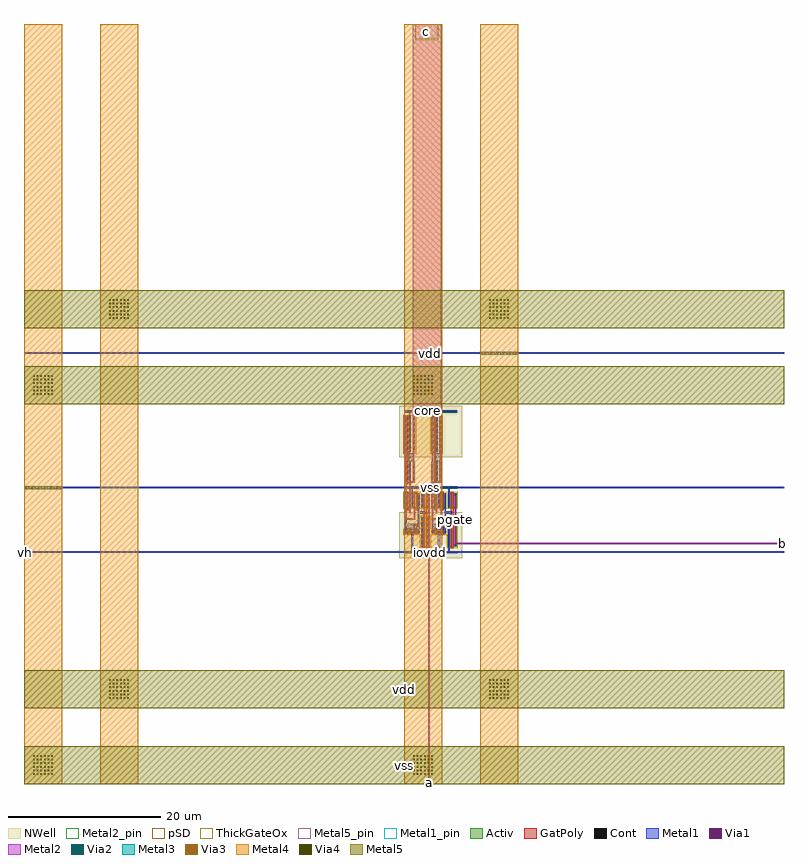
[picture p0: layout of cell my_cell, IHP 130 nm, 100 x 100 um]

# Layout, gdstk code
import gdstk
lib = gdstk.Library(unit=1e-6, precision=1e-09)
def R(c, l, rs):  # rectangles x0, y0, x1, y1
    for r in rs: c.add(gdstk.rectangle(r[:2], r[2:], *l))
def A(c, l, x, y, w, h, nx, ny, dx, dy):  # array of equal rectangles
    R(c, l, [(x+i*dx, y+j*dy, x+i*dx+w, y+j*dy+h) for i in range(nx) for j in range(ny)])
Activ = (1, 0)
GatPoly = (5, 0)
Cont = (6, 0)
Metal1 = (8, 0)
Metal1_pin = (8, 2)
Metal2 = (10, 0)
Metal2_pin = (10, 2)
pSD = (14, 0)
Via1 = (19, 0)
Via2 = (29, 0)
Metal3 = (30, 0)
NWell = (31, 0)
ThickGateOx = (44, 0)
Via3 = (49, 0)
Metal4 = (50, 0)
Via4 = (66, 0)
Metal5 = (67, 0)
Metal5_pin = (67, 2)

sg13g2_levelupinv = lib.new_cell('sg13g2_LevelUpInv')
R(sg13g2_levelupinv, Activ, [(0,-0.15,3.51,0.15), (2.275,0.73,3.405,4.63), (0.105,2.53,2.065,2.83), (0.105,5.87,2.065,7.77), (2.275,5.87,3.405,7.77), (0,8.35,3.51,8.65), (0.105,9.13,0.915,11.88), (1.125,9.13,1.425,11.88), (0.105,13.12,0.915,17.87), (1.125,13.12,1.425,17.87), (0,18.35,3.51,18.65)])
R(sg13g2_levelupinv, GatPoly, [(2.615,0.55,3.065,7.95), (0.445,2.35,0.895,3.25), (1.275,2.35,1.725,3.75), (0.445,5.49,0.895,7.95), (1.275,5.49,1.725,7.95), (0.445,8.95,0.575,12.35), (0.445,12.35,0.825,12.65), (0.445,12.65,0.575,18.05)])
A(sg13g2_levelupinv, Cont, 0.315, -0.08, 0.16, 0.16, 9, 2, 0.34, 8.5)
A(sg13g2_levelupinv, Cont, 2.345, 0.9, 0.16, 0.16, 1, 11, 0, 0.34)
A(sg13g2_levelupinv, Cont, 3.175, 0.9, 0.16, 0.16, 1, 11, 0, 0.34)
A(sg13g2_levelupinv, Cont, 0.175, 2.6, 0.16, 0.16, 3, 2, 0.83, 3.46)
A(sg13g2_levelupinv, Cont, 2.345, 6.06, 0.16, 0.16, 1, 5, 0, 0.34)
A(sg13g2_levelupinv, Cont, 3.175, 6.06, 0.16, 0.16, 1, 5, 0, 0.34)
A(sg13g2_levelupinv, Cont, 0.175, 6.4, 0.16, 0.16, 3, 4, 0.83, 0.34)
A(sg13g2_levelupinv, Cont, 0.175, 9.235, 0.16, 0.16, 1, 8, 0, 0.34)
A(sg13g2_levelupinv, Cont, 1.195, 9.235, 0.16, 0.16, 1, 8, 0, 0.34)
A(sg13g2_levelupinv, Cont, 0.685, 9.405, 0.16, 0.16, 1, 7, 0, 0.34)
A(sg13g2_levelupinv, Cont, 0.175, 13.205, 0.16, 0.16, 1, 14, 0, 0.34)
A(sg13g2_levelupinv, Cont, 1.195, 13.205, 0.16, 0.16, 1, 14, 0, 0.34)
A(sg13g2_levelupinv, Cont, 0.685, 13.375, 0.16, 0.16, 1, 13, 0, 0.34)
A(sg13g2_levelupinv, Cont, 0.315, 18.42, 0.16, 0.16, 9, 1, 0.34, 0)
R(sg13g2_levelupinv, Cont, [(0.665,3.02,0.825,3.18), (1.345,3.52,1.505,3.68), (2.685,5.17,2.845,5.33), (0.665,5.56,0.825,5.72), (1.345,5.56,1.505,5.72), (0.595,12.42,0.755,12.58)])
R(sg13g2_levelupinv, Metal1, [(0,-0.105,3.51,0.105), (0.925,0.105,1.245,2.76), (2.345,0.105,2.505,4.54), (3.175,0.82,3.385,7.66), (0.175,2.52,0.335,3.44), (1.835,2.52,1.995,2.94), (0.665,2.94,1.995,3.26), (1.835,3.26,1.995,5.09), (0.175,3.44,1.505,3.76), (0.175,3.76,0.335,7.66), (1.835,5.09,2.845,5.41), (0.665,5.1,0.875,5.8), (1.295,5.1,1.505,5.8), (1.835,5.41,1.995,7.66), (1.005,5.98,1.165,8.395), (2.345,5.98,2.505,8.395), (0,8.395,3.51,8.605), (0.685,8.605,0.845,11.79), (0.125,9.155,0.335,17.865), (1.17,9.155,1.38,11.97), (0.595,11.97,1.38,13.03), (1.17,13.03,1.38,17.865), (0.685,13.21,0.845,18.395), (0,18.395,3.51,18.605)])
R(sg13g2_levelupinv, Metal1_pin, [(0,-0.105,3.51,0.105), (0,8.395,3.51,8.605), (0,18.395,3.51,18.605)])
R(sg13g2_levelupinv, Metal2, [(3.18,1.02,3.38,7.46), (0.13,4.3,1.5,4.5), (0.13,4.5,0.33,17.755), (1.3,4.5,1.5,5.8), (0.67,5.1,0.87,9.165), (0.67,9.165,1.375,9.365), (1.175,9.365,1.375,17.755)])
R(sg13g2_levelupinv, Metal2_pin, [(3.18,1.02,3.38,7.46), (1.175,9.265,1.375,17.755)])
R(sg13g2_levelupinv, pSD, [(2.095,0.55,3.585,2.35), (-0.075,2.35,3.585,3.01), (2.095,3.01,3.585,4.81), (-0.03,8.32,3.54,8.68), (-0.075,12.94,1.605,18.05)])
A(sg13g2_levelupinv, Via1, 3.185, 1.07, 0.19, 0.19, 1, 16, 0, 0.41)
A(sg13g2_levelupinv, Via1, 0.135, 9.315, 0.19, 0.19, 1, 21, 0, 0.41)
A(sg13g2_levelupinv, Via1, 1.18, 9.315, 0.19, 0.19, 1, 21, 0, 0.41)
R(sg13g2_levelupinv, Via1, [(0.675,5.15,0.865,5.34), (1.305,5.15,1.495,5.34), (0.675,5.56,0.865,5.75), (1.305,5.56,1.495,5.75)])
R(sg13g2_levelupinv, NWell, [(-0.62,-0.77,4.13,5.25), (-0.62,12.5,4.13,19.27)])
R(sg13g2_levelupinv, ThickGateOx, [(2.09,0.545,3.59,2.25), (-0.08,2.25,3.59,3.11), (2.09,3.11,3.59,4.815), (-0.08,5.685,3.59,7.955)])
sg13g2_levelupinv.add(gdstk.Label('o', (3.28,4.24), layer=10, texttype=25))
sg13g2_levelupinv.add(gdstk.Label('i', (1.275,13.51), layer=10, texttype=25))
sg13g2_levelupinv.add(gdstk.Label('iovdd', (1.755,0), layer=8, texttype=25))
sg13g2_levelupinv.add(gdstk.Label('vss', (1.755,8.5), layer=8, texttype=25))
sg13g2_levelupinv.add(gdstk.Label('vdd', (1.755,18.5), layer=8, texttype=25))

my_cell = lib.new_cell('my_cell')
R(my_cell, Metal1, [(-50,-19.7,-49.6,-19.605), (-50,-19.605,50,-19.395), (-50,-19.395,-49.6,-19.3), (-50,-11.2,-45,-11.105), (-50,-11.105,50,-10.895), (-50,-10.895,-45,-10.8), (10,6.5,15,6.595), (-50,6.595,50,6.805), (10,6.805,15,6.9)])
R(my_cell, Metal1_pin, [(0,-19.605,7.02,-19.395), (0,-11.105,7.02,-10.895), (0,6.595,7.02,6.805)])
R(my_cell, Metal2, [(3.1,-50,3.5,-49.6), (3.18,-49.6,3.38,-12.04), (-50,-19.7,-49.6,-19.3), (49.6,-18.6,50,-18.48), (6.69,-18.48,50,-18.28), (6.69,-18.28,6.89,-12.04), (49.6,-18.28,50,-18.2), (-50,-11.2,-45,-10.8), (1.175,-10.235,1.375,-1), (4.685,-10.235,4.885,-1), (1.175,-1,4.885,50), (10,6.5,15,6.9)])
R(my_cell, Metal2_pin, [(3.1,-50,3.5,-49.6), (-50,-19.7,-49.6,-19.3), (49.6,-18.6,50,-18.2), (3.18,-18.48,3.38,-12.04), (6.69,-18.48,6.89,-12.04), (1.175,-1,4.885,-0.6), (1.5,48,4.5,50)])
A(my_cell, Via1, -49.85, -11.095, 0.19, 0.19, 12, 1, 0.41, 0)
A(my_cell, Via1, 10.15, 6.605, 0.19, 0.19, 12, 1, 0.41, 0)
R(my_cell, Via1, [(-49.895,-19.595,-49.705,-19.405)])
A(my_cell, Via2, -49.85, -11.095, 0.19, 0.19, 12, 1, 0.41, 0)
A(my_cell, Via2, 10.15, 6.605, 0.19, 0.19, 12, 1, 0.41, 0)
R(my_cell, Metal3, [(-50,-11.2,-45,-10.8), (10,6.5,15,6.9)])
A(my_cell, Via3, -49.85, -11.095, 0.19, 0.19, 12, 1, 0.41, 0)
A(my_cell, Via3, 10.15, 6.605, 0.19, 0.19, 12, 1, 0.41, 0)
R(my_cell, Metal4, [(-50,-50,-45,50), (-40,-50,-35,50), (0,-50,5,50), (10,-50,15,50)])
A(my_cell, Via4, -48.795, -48.795, 0.19, 0.19, 6, 6, 0.48, 0.48)
A(my_cell, Via4, 1.205, -48.795, 0.19, 0.19, 6, 6, 0.48, 0.48)
A(my_cell, Via4, -38.795, -38.795, 0.19, 0.19, 6, 6, 0.48, 0.48)
A(my_cell, Via4, 11.205, -38.795, 0.19, 0.19, 6, 6, 0.48, 0.48)
A(my_cell, Via4, -48.795, 1.205, 0.19, 0.19, 6, 6, 0.48, 0.48)
A(my_cell, Via4, 1.205, 1.205, 0.19, 0.19, 6, 6, 0.48, 0.48)
A(my_cell, Via4, -38.795, 11.205, 0.19, 0.19, 6, 6, 0.48, 0.48)
A(my_cell, Via4, 11.205, 11.205, 0.19, 0.19, 6, 6, 0.48, 0.48)
R(my_cell, Metal5, [(-50,-50,50,-45), (-50,-40,50,-35), (-50,0,50,5), (-50,10,50,15)])
R(my_cell, Metal5_pin, [(-50,-50,50,-45), (-50,-40,50,-35)])
my_cell.add(gdstk.Reference(sg13g2_levelupinv, (3.51,-19.5)))
my_cell.add(gdstk.Reference(sg13g2_levelupinv, (0,-19.5)))
my_cell.add(gdstk.Label('pgate', (6.79,-15.26), layer=10, texttype=25))
my_cell.add(gdstk.Label('ngate', (3.28,-15.26), layer=10, texttype=25))
my_cell.add(gdstk.Label('core', (3.03,-0.8), layer=10, texttype=25))
my_cell.add(gdstk.Label('iovdd', (3.51,-19.5), layer=8, texttype=25))
my_cell.add(gdstk.Label('vdd', (0,-37.5), layer=67, texttype=25))
my_cell.add(gdstk.Label('vdd', (3.51,6.7), layer=8, texttype=25))
my_cell.add(gdstk.Label('vss', (0,-47.5), layer=67, texttype=25))
my_cell.add(gdstk.Label('vss', (3.51,-11), layer=8, texttype=25))
my_cell.add(gdstk.Label('vh', (-49.8,-19.5), layer=10, texttype=25))
my_cell.add(gdstk.Label('a', (3.3,-49.8), layer=10, texttype=25))
my_cell.add(gdstk.Label('b', (49.8,-18.4), layer=10, texttype=25))
my_cell.add(gdstk.Label('c', (3,49), layer=10, texttype=25))

lib.write_gds('my_cell.gds')
